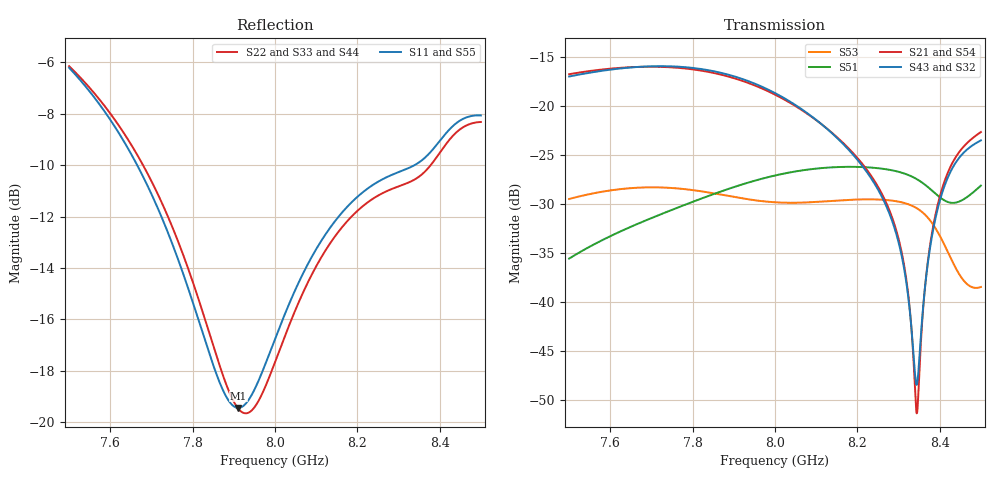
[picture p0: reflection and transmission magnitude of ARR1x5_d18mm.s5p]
! Touchstone file exported from HFSS 2025.1.0
!  File:  C:/Users/user/Documents/Ansoft/TFG_UWB-MIMO-Array.aedt
!  Generated:  04:10:08 PM Nov 20, 2026
!  Design:  ARR1x5_US3_PS6_4_dparam
!  Project:  TFG_UWB-MIMO-Array
!  Setup:  Setup_ch9
!  Solution:  Sweep_7p5_8p5
! Variables:
!  arr_d = 18mm
!  board_m = 13mm
!  board_x = 98mm
!  board_y = 26mm
!  cu_t = 0.035mm
!  line_w = 3.92mm
!  pad_xy = 22mm
!  pad_zn = 25mm
!  pad_zp = 33mm
!  par_L = 7.05mm
!  par_W = 13.58mm
!  par_yc = 0.615mm
!  par_z = 1.035mm
!  patch_L = 6.29mm
!  patch_W = 14mm
!  sub_h = 2.07mm
!  tr_l = 7.25mm
!  tr_w = 1mm
!  u_Lu = 2.65mm
!  u_Wu = 4.4mm
!  u_t = 0.8mm
!  u_y0 = -0.7mm
# GHz S MA R 50.000000
! Terminal data exported
! Port[1] = P1
! Port[2] = P2
! Port[3] = P3
! Port[4] = P4
! Port[5] = P5
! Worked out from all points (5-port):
!   1001 points, 7.5 GHz to 8.5 GHz, reference 50 ohm
!   strongest paths, dB at 7.5 GHz, 7.75 GHz, 8 GHz, 8.25 GHz, 8.5 GHz:
!     S43: -17.0, -15.9, -18.7, -28.5, -23.5
!     S32: -17.0, -15.9, -18.7, -28.5, -23.4
!     S21: -16.7, -16.0, -18.8, -28.2, -22.6
!     S54: -16.8, -16.1, -18.8, -28.2, -22.7
!     S51: -35.6, -30.6, -27.1, -26.3, -28.1
!     S53: -29.5, -28.4, -29.8, -29.5, -38.5
!   lowest |S11| = -19.4 dB at 7.911 GHz (marker M1), VSWR 1.24, Z = 61.2 - j3.99 ohm
!   |S11| at or under -10 dB: 7.665 GHz to 8.338 GHz (672.9 MHz wide, 8.41 % of centre)
